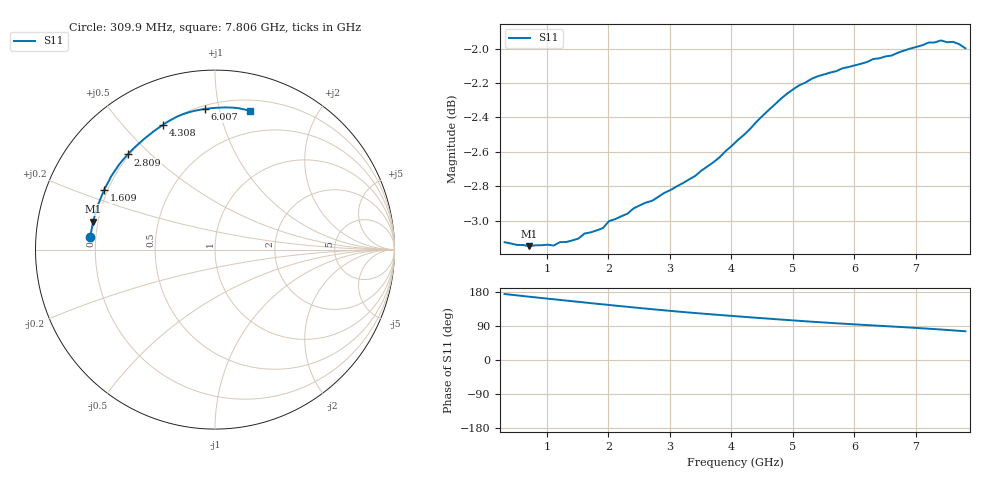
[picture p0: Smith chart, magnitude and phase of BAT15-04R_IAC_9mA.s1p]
! Infineon Technologies  Discrete & RF Semiconductors
! BAT15-04R
! IAC = 9 mA
! One-Port S-Parameters
# Hz  S  MA  R  50
!f  S11
!Hz  Mag  Ang
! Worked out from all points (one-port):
!   76 points, 309.9 MHz to 7.806 GHz, reference 50 ohm
!   lowest |S11| = -3.1 dB at 709.6 MHz (marker M1), VSWR 5.58, Z = 9.08 + j5.51 ohm
!   |S11| at or under -10 dB: nowhere
!   S11 on the Smith chart (normalised r, x): 309.9 MHz: 0.18, +0.05; 1.609 GHz: 0.19, +0.24; 2.809 GHz: 0.19, +0.43; 4.308 GHz: 0.20, +0.65; 6.007 GHz: 0.22, +0.91; 7.806 GHz: 0.30, +1.24
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3.0985e8  0.6977 174.1
7.0965e8  0.6959 167.0
1.0095e9  0.6966 161.9
1.30935e9  0.6978 156.8
1.6092e9  0.7018 151.8
1.8091e9  0.7033 148.4
1.90905e9  0.7044 146.9
2.009e9  0.7077 145.2
2.2089e9  0.71 141.9
2.50875e9  0.7152 137.2
2.8086e9  0.7193 132.5
3.10845e9  0.7243 128.1
3.2084e9  0.7259 126.7
3.50825e9  0.732 122.7
4.10795e9  0.7473 115.0
4.30785e9  0.7529 112.6
4.4078e9  0.7564 111.5
4.70765e9  0.7653 107.8
5.0075e9  0.7731 104.4
5.4073e9  0.7798 100.0
5.8071e9  0.784 95.9
6.007e9  0.7855 94.0
6.30685e9  0.7889 91.2
6.90655e9  0.7944 85.6
7.2064e9  0.7976 82.6
7.4063e9  0.7988 80.5
7.6062e9  0.798 78.2
7.8061e9  0.7945 75.9
